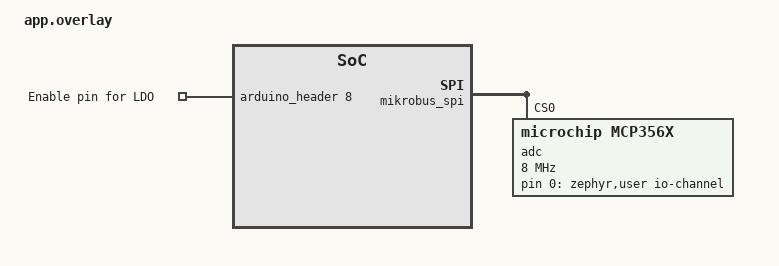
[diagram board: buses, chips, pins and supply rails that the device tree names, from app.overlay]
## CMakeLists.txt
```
cmake_minimum_required(VERSION 3.13.1)
find_package(Zephyr REQUIRED HINTS $ENV{ZEPHYR_BASE})

project(mcp3561_sample LANGUAGES C)

FILE(GLOB sources src/*.c)
target_sources(app PRIVATE ${sources})
```

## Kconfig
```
# Copyright (c) 2024 Launch Initiative
# SPDX-License-Identifier: Apache-2.0
#
# This file is the application Kconfig entry point. All application Kconfig
# options can be defined here or included via other application Kconfig files.
# You can browse these options using the west targets menuconfig (terminal) or
# guiconfig (GUI).

menu "Zephyr"
source "Kconfig.zephyr"
endmenu

module = APP_MCP_SAMPLE
module-str = APP_MCP_SAMPLE
source "subsys/logging/Kconfig.template.log_config"
```

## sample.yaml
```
sample:
  description: shield_blinky
  name: shield_blinky
common:
  build_only: true
  platform_allow:
    - nucleo_f446re
tests:
  samples.shield_mcp3561r.default:
    extra_args: SHIELD="launch_mikroe"
```

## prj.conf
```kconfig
# Copyright (c) 2024 Launch Initiative
# SPDX-License-Identifier: Apache-2.0
#
# This file contains selected Kconfig options for the application.

CONFIG_SENSOR=y
CONFIG_ADC=y


CONFIG_GPIO=y
CONFIG_SPI=y
CONFIG_SPI_STM32=y


CONFIG_MAIN_STACK_SIZE=4096

CONFIG_CBPRINTF_FP_SUPPORT=y
CONFIG_LOG=y
CONFIG_LOG_MODE_IMMEDIATE=y

CONFIG_MCP356X=y
```

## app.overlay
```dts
/ {
    zephyr,user {
        io-channels = <&adc 0>;
    };
    chosen {
        zephyr,console = &usart2;
        zephyr,shell-uart = &usart2;
    };

    aliases {
        led = &shield_led;
    };
    control_gpios{
        compatible = "gpio-keys";
        irq: irq{
            gpios = <&arduino_header 8 (0)>;
            label = "Enable pin for LDO";
        };
    };

};

&mikrobus_spi {
    adc: mcp3561@0 {
        #io-channel-cells = <1>;
        #address-cells = <1>;
        #size-cells = <0>;

        status = "okay";
        compatible = "microchip,mcp356x";
        reg = <0>;
        device-address = <1>;
        clock-selection = "CLK_INTERNAL";
        prescale = "PRE_1";
        spi-max-frequency = <DT_FREQ_M(8)>; // pg. 12, Table 1.1 MAX 20MHz

        channel@0 {
            reg = <0>;
            zephyr,gain = "ADC_GAIN_1";
            zephyr,reference = "ADC_REF_INTERNAL";
            zephyr,acquisition-time = <ADC_ACQ_TIME_DEFAULT>;

            zephyr,resolution = <24>;

            zephyr,input-positive = <1>;
            zephyr,input-negative = <0>;

        };
    };
};
```

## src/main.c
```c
#include <inttypes.h>
#include <stddef.h>
#include <stdint.h>
#include <zephyr/device.h>
#include <zephyr/devicetree.h>
#include <zephyr/drivers/adc.h>
#include <zephyr/drivers/gpio.h>
#include <zephyr/kernel.h>
#include <zephyr/logging/log.h>
#include <zephyr/sys/printk.h>
#include <zephyr/sys/util.h>

LOG_MODULE_REGISTER(main);

#define LED_NODE DT_ALIAS(led)
const struct gpio_dt_spec led = GPIO_DT_SPEC_GET(LED_NODE, gpios);

// Data of ADC io-channels specified in devicetree.
static const struct adc_dt_spec adc_chan0 = ADC_DT_SPEC_GET_BY_IDX(DT_PATH(zephyr_user), 0);

int main() {
    // Setup buffers for reading
    int err;
    uint32_t buf;
    struct adc_sequence sequence = {
        .buffer = &buf,
        /* buffer size in bytes, not number of samples */
        .buffer_size = sizeof(buf),
    };

    // Configure channel prior to sampling.
    if (!adc_is_ready_dt(&adc_chan0)) {
        printk("ADC controller device %s not ready\n", adc_chan0.dev->name);
        return 0;
    }

    err = adc_channel_setup_dt(&adc_chan0);
    if (err < 0) {
        printk("Could not setup channel (%d)\n", err);
        return 0;
    }

    // Measure and print tab separated values
    printk("raw hex, raw dec, volts, volts\n");
    while (true) {
        sequence.channels = adc_chan0.channel_id;

        err = adc_sequence_init_dt(&adc_chan0, &sequence);
        if (err < 0) {
            printk("Could not init seq: %d", err);
        }
        err = adc_read_dt(&adc_chan0, &sequence);
        if (err < 0) {
            printk("Could not read adc channel %d (%d)\n", adc_chan0.channel_id, err);
            continue;
        }

        int32_t val = (int32_t) buf;
        float volts = 2.4f * ((float) val) / ((float) 0x7fffff);

        printk("0x%06x,\t%8d,\t%2.4f V\t\r", buf, val, (double) volts);

        gpio_pin_toggle_dt(&led);

        k_msleep(100);
    }
}
```
